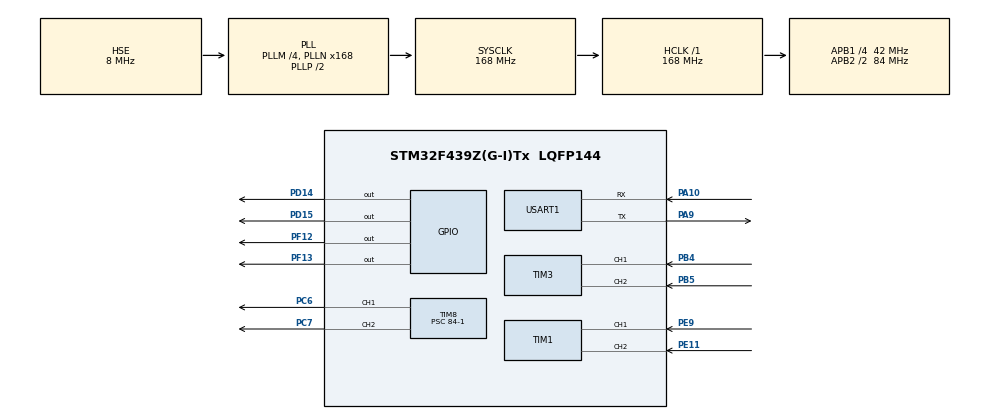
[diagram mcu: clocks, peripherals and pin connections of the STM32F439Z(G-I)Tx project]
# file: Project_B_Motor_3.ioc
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Mcu.Family=STM32F4
Mcu.Name=STM32F439Z(G-I)Tx
Mcu.Package=LQFP144
NVIC.PriorityGroup=NVIC_PRIORITYGROUP_4
NVIC.TIM1_UP_TIM10_IRQn=true\:0\:0\:false\:false\:true\:true\:true\:true
NVIC.TIM3_IRQn=true\:0\:0\:false\:false\:true\:true\:true\:true
NVIC.TIM7_IRQn=true\:0\:0\:false\:false\:true\:true\:true\:true
NVIC.USART1_IRQn=true\:0\:0\:false\:false\:true\:true\:true\:true
PA10.GPIO_ModeDefaultPP=GPIO_MODE_AF_PP
PA10.GPIO_PuPd=GPIO_NOPULL
PA10.GPIO_Speed=GPIO_SPEED_FREQ_VERY_HIGH
PA10.Mode=Asynchronous
PA10.Signal=USART1_RX
PA13.Mode=Serial_Wire
PA13.Signal=SYS_JTMS-SWDIO
PA14.Mode=Serial_Wire
PA14.Signal=SYS_JTCK-SWCLK
PA9.GPIO_ModeDefaultPP=GPIO_MODE_AF_PP
PA9.GPIO_PuPd=GPIO_NOPULL
PA9.GPIO_Speed=GPIO_SPEED_FREQ_VERY_HIGH
PA9.Mode=Asynchronous
PA9.Signal=USART1_TX
PB4.GPIO_ModeDefaultPP=GPIO_MODE_AF_PP
PB4.GPIO_PuPd=GPIO_NOPULL
PB4.GPIO_Speed=GPIO_SPEED_FREQ_VERY_HIGH
PB4.Signal=S_TIM3_CH1
PB5.GPIO_ModeDefaultPP=GPIO_MODE_AF_PP
PB5.GPIO_PuPd=GPIO_NOPULL
PB5.GPIO_Speed=GPIO_SPEED_FREQ_VERY_HIGH
PB5.Signal=S_TIM3_CH2
PC6.GPIO_ModeDefaultPP=GPIO_MODE_AF_PP
PC6.GPIO_PuPd=GPIO_NOPULL
PC6.GPIO_Speed=GPIO_SPEED_FREQ_VERY_HIGH
PC6.Signal=S_TIM8_CH1
PC7.GPIO_ModeDefaultPP=GPIO_MODE_AF_PP
PC7.GPIO_PuPd=GPIO_NOPULL
PC7.GPIO_Speed=GPIO_SPEED_FREQ_VERY_HIGH
PC7.Signal=S_TIM8_CH2
PD14.GPIO_ModeDefaultOutputPP=GPIO_MODE_OUTPUT_PP
PD14.GPIO_PuPd=GPIO_NOPULL
PD14.GPIO_Speed=GPIO_SPEED_FREQ_VERY_HIGH
PD14.PinState=GPIO_PIN_RESET
PD14.Signal=GPIO_Output
PD15.GPIO_ModeDefaultOutputPP=GPIO_MODE_OUTPUT_PP
PD15.GPIO_PuPd=GPIO_NOPULL
PD15.GPIO_Speed=GPIO_SPEED_FREQ_VERY_HIGH
PD15.PinState=GPIO_PIN_RESET
PD15.Signal=GPIO_Output
PE11.GPIO_ModeDefaultPP=GPIO_MODE_AF_PP
PE11.GPIO_PuPd=GPIO_NOPULL
PE11.GPIO_Speed=GPIO_SPEED_FREQ_VERY_HIGH
PE11.Signal=S_TIM1_CH2
PE9.GPIO_ModeDefaultPP=GPIO_MODE_AF_PP
PE9.GPIO_PuPd=GPIO_NOPULL
PE9.GPIO_Speed=GPIO_SPEED_FREQ_VERY_HIGH
PE9.Signal=S_TIM1_CH1
PF12.GPIO_Speed=GPIO_SPEED_FREQ_VERY_HIGH
PF12.PinState=GPIO_PIN_RESET
PF12.Signal=GPIO_Output
PF13.GPIO_ModeDefaultOutputPP=GPIO_MODE_OUTPUT_PP
PF13.GPIO_PuPd=GPIO_NOPULL
PF13.GPIO_Speed=GPIO_SPEED_FREQ_VERY_HIGH
PF13.PinState=GPIO_PIN_RESET
PF13.Signal=GPIO_Output
PH0/OSC_IN.Mode=HSE-External-Oscillator
PH0/OSC_IN.Signal=RCC_OSC_IN
PH1/OSC_OUT.Mode=HSE-External-Oscillator
PH1/OSC_OUT.Signal=RCC_OSC_OUT
ProjectManager.HeapSize=0x200
ProjectManager.StackSize=0x400
ProjectManager.TargetToolchain=STM32CubeIDE
RCC.48MHZClocksFreq_Value=48000000
RCC.AHBFreq_Value=168000000
RCC.APB1CLKDivider=RCC_HCLK_DIV4
RCC.APB1Freq_Value=42000000
RCC.APB1TimFreq_Value=84000000
RCC.APB2CLKDivider=RCC_HCLK_DIV2
RCC.APB2Freq_Value=84000000
RCC.APB2TimCLKDivider=2
RCC.APB2TimFreq_Value=168000000
RCC.CortexFreq_Value=168000000
RCC.HCLKFreq_Value=168000000
RCC.HSE_VALUE=8000000
RCC.HSI_VALUE=16000000
RCC.LSE_VALUE=32768
RCC.PLLM=4
RCC.PLLMUL=RCC_PLL_MUL9
RCC.PLLN=168
RCC.PLLQ=7
RCC.PLLSourceVirtual=RCC_PLLSOURCE_HSE
RCC.PRESCALERUSB=RCC_USBCLKSOURCE_PLL_DIV1_5
RCC.SYSCLKFreq_VALUE=168000000
RCC.SYSCLKSource=RCC_SYSCLKSOURCE_PLLCLK
RCC.SYSCLKSourceVirtual=RCC_SYSCLKSOURCE_PLLCLK
RCC.USBFreq_Value=48000000
RCC.VCOOutputFreq_Value=336000000
SH.S_TIM1_CH1.0=TIM1_CH1,Encoder_Interface
SH.S_TIM1_CH2.0=TIM1_CH2,Encoder_Interface
SH.S_TIM3_CH1.0=TIM3_CH1,Encoder_Interface
SH.S_TIM3_CH2.0=TIM3_CH2,Encoder_Interface
SH.S_TIM8_CH1.0=TIM8_CH1,PWM Generation1 CH1
SH.S_TIM8_CH2.0=TIM8_CH2,PWM Generation2 CH2
TIM1.EncoderMode=TIM_ENCODERMODE_TI12
TIM3.EncoderMode=TIM_ENCODERMODE_TI12
TIM7.Period=50-1
TIM7.Prescaler=8400-1
TIM8.Channel-PWM\ Generation1\ CH1=TIM_CHANNEL_1
TIM8.Channel-PWM\ Generation2\ CH2=TIM_CHANNEL_2
TIM8.Period=100-1
TIM8.Prescaler=84-1
USART1.VirtualMode=VM_ASYNC
VP_TIM7_VS_ClockSourceINT.Mode=Enable_Timer
board=NUCLEO-F439ZI

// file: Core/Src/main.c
/* USER CODE BEGIN Header */
/**
  ******************************************************************************
  * @file           : main.c
  * @brief          : Main program body
  ******************************************************************************
  * @attention
  *
  * Copyright (c) 2025 STMicroelectronics.
  * All rights reserved.
  *
  * This software is licensed under terms that can be found in the LICENSE file
  * in the root directory of this software component.
  * If no LICENSE file comes with this software, it is provided AS-IS.
  *
  ******************************************************************************
  */
/* USER CODE END Header */
#include "main.h"

/* USER CODE BEGIN Includes */
#include "B_Encoder.h"
/* USER CODE END Includes */

// 수정 확인이요

TIM_HandleTypeDef htim1;
TIM_HandleTypeDef htim3;
TIM_HandleTypeDef htim7;
TIM_HandleTypeDef htim8;

UART_HandleTypeDef huart1;

/* USER CODE BEGIN PV */
B_MOTOR_t move_instance = {
    .pid_R.Kp = 0.001f,
    .pid_R.Ki = 0.000001f,
    .pid_R.Kd = 0.001f,

    .pid_L.Kp = 0.001f,
    .pid_L.Ki = 0.000001f,
    .pid_L.Kd = 0.001f,
};
B_MOTOR_t *move = &move_instance;

uint8_t state = 0;
uint8_t cell = 0;
/* USER CODE END PV */

void SystemClock_Config(void);
static void MX_GPIO_Init(void);
static void MX_TIM8_Init(void);
static void MX_TIM1_Init(void);
static void MX_TIM3_Init(void);
static void MX_TIM7_Init(void);
static void MX_USART1_UART_Init(void);
/* USER CODE BEGIN PFP */
void HAL_TIM_IC_CaptureCallback(TIM_HandleTypeDef *htim)
{
    if (htim->Instance == TIM1) {
    	B_MOTOR_EncoderOver(move);
    }
    if (htim->Instance == TIM3) {
    	B_MOTOR_EncoderOver(move);
    }
}

void HAL_TIM_PeriodElapsedCallback(TIM_HandleTypeDef *htim)
{
  if (htim->Instance == TIM7)
  {
    B_MOTOR_UpdateEncoder(move);

    switch (move->move_state)
    {
      case MOTOR_MOVE_IDLE:
    	  break;

      case MOTOR_MOVE_DIR:
      {
  		int32_t error = move->target_count - move->R.total_count;
  		move->dir_state = (error < 0) ? MOTOR_DIR_CCW : MOTOR_DIR_CW;
  		B_MOTOR_SET_DIR(move, move->dir_state);
  		move->move_state = MOTOR_MOVE_ACCEL;
  		break;
      }

      case MOTOR_MOVE_ACCEL:
      {
        B_MOTOR_ACCEL(move);
        break;
      }

      case MOTOR_MOVE_PID:
        B_MOTOR_PID_CONTROLLER(move);
        break;

      case MOTOR_MOVE_DONE:
        move->move_state = MOTOR_MOVE_IDLE;
        break;

      default:
        break;
    }
  }
}

/* USER CODE END PFP */

int main(void)
{

  /* MCU Configuration--------------------------------------------------------*/

  /* Reset of all peripherals, Initializes the Flash interface and the Systick. */
  HAL_Init();

  /* Configure the system clock */
  SystemClock_Config();

  /* Initialize all configured peripherals */
  MX_GPIO_Init();
  MX_TIM8_Init();
  MX_TIM1_Init();
  MX_TIM3_Init();
  MX_TIM7_Init();
  MX_USART1_UART_Init();
  /* USER CODE BEGIN 2 */
  B_MOTOR_INIT(move);
  HAL_TIM_Base_Start_IT(&htim7);
  /* USER CODE END 2 */

  /* Infinite loop */
  /* USER CODE BEGIN WHILE */
  while (1)
  {
	  // 1. 목표 거리 설정 (셀 번호 → 거리 → 인코더 카운트)
	  move->target_count = B_MOTOR_cell_to_cm(cell) * COUNTS_PER_CM;

	  // 2. 외부로부터 동작 시작 트리거 (1회성, 직접 설정)
	  if (state == 1) {
	      state = 0;
	      B_MOTOR_RESET_PID(move);
	      B_MOTOR_SET_STATE(move, MOTOR_STATE_START);
	      move->move_state = MOTOR_MOVE_DIR;
	  }
    /* USER CODE END WHILE */

  }
}

void SystemClock_Config(void)
{
  RCC_OscInitTypeDef RCC_OscInitStruct = {0};
  RCC_ClkInitTypeDef RCC_ClkInitStruct = {0};

  /** Configure the main internal regulator output voltage
  */
  __HAL_RCC_PWR_CLK_ENABLE();
  __HAL_PWR_VOLTAGESCALING_CONFIG(PWR_REGULATOR_VOLTAGE_SCALE1);

  /** Initializes the RCC Oscillators according to the specified parameters
  * in the RCC_OscInitTypeDef structure.
  */
  RCC_OscInitStruct.OscillatorType = RCC_OSCILLATORTYPE_HSE;
  RCC_OscInitStruct.HSEState = RCC_HSE_ON;
  RCC_OscInitStruct.PLL.PLLState = RCC_PLL_ON;
  RCC_OscInitStruct.PLL.PLLSource = RCC_PLLSOURCE_HSE;
  RCC_OscInitStruct.PLL.PLLM = 4;
  RCC_OscInitStruct.PLL.PLLN = 168;
  RCC_OscInitStruct.PLL.PLLP = RCC_PLLP_DIV2;
  RCC_OscInitStruct.PLL.PLLQ = 7;
  if (HAL_RCC_OscConfig(&RCC_OscInitStruct) != HAL_OK)
  {
    Error_Handler();
  }

  /** Initializes the CPU, AHB and APB buses clocks
  */
  RCC_ClkInitStruct.ClockType = RCC_CLOCKTYPE_HCLK|RCC_CLOCKTYPE_SYSCLK
                              |RCC_CLOCKTYPE_PCLK1|RCC_CLOCKTYPE_PCLK2;
  RCC_ClkInitStruct.SYSCLKSource = RCC_SYSCLKSOURCE_PLLCLK;
  RCC_ClkInitStruct.AHBCLKDivider = RCC_SYSCLK_DIV1;
  RCC_ClkInitStruct.APB1CLKDivider = RCC_HCLK_DIV4;
  RCC_ClkInitStruct.APB2CLKDivider = RCC_HCLK_DIV2;

  if (HAL_RCC_ClockConfig(&RCC_ClkInitStruct, FLASH_LATENCY_5) != HAL_OK)
  {
    Error_Handler();
  }
}

static void MX_TIM1_Init(void)
{

  TIM_Encoder_InitTypeDef sConfig = {0};
  TIM_MasterConfigTypeDef sMasterConfig = {0};

  htim1.Instance = TIM1;
  htim1.Init.Prescaler = 0;
  htim1.Init.CounterMode = TIM_COUNTERMODE_UP;
  htim1.Init.Period = 65535;
  htim1.Init.ClockDivision = TIM_CLOCKDIVISION_DIV1;
  htim1.Init.RepetitionCounter = 0;
  htim1.Init.AutoReloadPreload = TIM_AUTORELOAD_PRELOAD_DISABLE;
  sConfig.EncoderMode = TIM_ENCODERMODE_TI12;
  sConfig.IC1Polarity = TIM_ICPOLARITY_RISING;
  sConfig.IC1Selection = TIM_ICSELECTION_DIRECTTI;
  sConfig.IC1Prescaler = TIM_ICPSC_DIV1;
  sConfig.IC1Filter = 0;
  sConfig.IC2Polarity = TIM_ICPOLARITY_RISING;
  sConfig.IC2Selection = TIM_ICSELECTION_DIRECTTI;
  sConfig.IC2Prescaler = TIM_ICPSC_DIV1;
  sConfig.IC2Filter = 0;
  if (HAL_TIM_Encoder_Init(&htim1, &sConfig) != HAL_OK)
  {
    Error_Handler();
  }
  sMasterConfig.MasterOutputTrigger = TIM_TRGO_RESET;
  sMasterConfig.MasterSlaveMode = TIM_MASTERSLAVEMODE_DISABLE;
  if (HAL_TIMEx_MasterConfigSynchronization(&htim1, &sMasterConfig) != HAL_OK)
  {
    Error_Handler();
  }

}

static void MX_TIM3_Init(void)
{

  TIM_Encoder_InitTypeDef sConfig = {0};
  TIM_MasterConfigTypeDef sMasterConfig = {0};

  htim3.Instance = TIM3;
  htim3.Init.Prescaler = 0;
  htim3.Init.CounterMode = TIM_COUNTERMODE_UP;
  htim3.Init.Period = 65535;
  htim3.Init.ClockDivision = TIM_CLOCKDIVISION_DIV1;
  htim3.Init.AutoReloadPreload = TIM_AUTORELOAD_PRELOAD_DISABLE;
  sConfig.EncoderMode = TIM_ENCODERMODE_TI12;
  sConfig.IC1Polarity = TIM_ICPOLARITY_RISING;
  sConfig.IC1Selection = TIM_ICSELECTION_DIRECTTI;
  sConfig.IC1Prescaler = TIM_ICPSC_DIV1;
  sConfig.IC1Filter = 0;
  sConfig.IC2Polarity = TIM_ICPOLARITY_RISING;
  sConfig.IC2Selection = TIM_ICSELECTION_DIRECTTI;
  sConfig.IC2Prescaler = TIM_ICPSC_DIV1;
  sConfig.IC2Filter = 0;
  if (HAL_TIM_Encoder_Init(&htim3, &sConfig) != HAL_OK)
  {
    Error_Handler();
  }
  sMasterConfig.MasterOutputTrigger = TIM_TRGO_RESET;
  sMasterConfig.MasterSlaveMode = TIM_MASTERSLAVEMODE_DISABLE;
  if (HAL_TIMEx_MasterConfigSynchronization(&htim3, &sMasterConfig) != HAL_OK)
  {
    Error_Handler();
  }

}

static void MX_TIM7_Init(void)
{

  TIM_MasterConfigTypeDef sMasterConfig = {0};

  htim7.Instance = TIM7;
  htim7.Init.Prescaler = 8400-1;
  htim7.Init.CounterMode = TIM_COUNTERMODE_UP;
  htim7.Init.Period = 50-1;
  htim7.Init.AutoReloadPreload = TIM_AUTORELOAD_PRELOAD_DISABLE;
  if (HAL_TIM_Base_Init(&htim7) != HAL_OK)
  {
    Error_Handler();
  }
  sMasterConfig.MasterOutputTrigger = TIM_TRGO_RESET;
  sMasterConfig.MasterSlaveMode = TIM_MASTERSLAVEMODE_DISABLE;
  if (HAL_TIMEx_MasterConfigSynchronization(&htim7, &sMasterConfig) != HAL_OK)
  {
    Error_Handler();
  }

}

static void MX_TIM8_Init(void)
{

  TIM_MasterConfigTypeDef sMasterConfig = {0};
  TIM_OC_InitTypeDef sConfigOC = {0};
  TIM_BreakDeadTimeConfigTypeDef sBreakDeadTimeConfig = {0};

  htim8.Instance = TIM8;
  htim8.Init.Prescaler = 84-1;
  htim8.Init.CounterMode = TIM_COUNTERMODE_UP;
  htim8.Init.Period = 100-1;
  htim8.Init.ClockDivision = TIM_CLOCKDIVISION_DIV1;
  htim8.Init.RepetitionCounter = 0;
  htim8.Init.AutoReloadPreload = TIM_AUTORELOAD_PRELOAD_DISABLE;
  if (HAL_TIM_PWM_Init(&htim8) != HAL_OK)
  {
    Error_Handler();
  }
  sMasterConfig.MasterOutputTrigger = TIM_TRGO_RESET;
  sMasterConfig.MasterSlaveMode = TIM_MASTERSLAVEMODE_DISABLE;
  if (HAL_TIMEx_MasterConfigSynchronization(&htim8, &sMasterConfig) != HAL_OK)
  {
    Error_Handler();
  }
  sConfigOC.OCMode = TIM_OCMODE_PWM1;
  sConfigOC.Pulse = 0;
  sConfigOC.OCPolarity = TIM_OCPOLARITY_HIGH;
  sConfigOC.OCNPolarity = TIM_OCNPOLARITY_HIGH;
  sConfigOC.OCFastMode = TIM_OCFAST_DISABLE;
  sConfigOC.OCIdleState = TIM_OCIDLESTATE_RESET;
  sConfigOC.OCNIdleState = TIM_OCNIDLESTATE_RESET;
  if (HAL_TIM_PWM_ConfigChannel(&htim8, &sConfigOC, TIM_CHANNEL_1) != HAL_OK)
  {
    Error_Handler();
  }
  if (HAL_TIM_PWM_ConfigChannel(&htim8, &sConfigOC, TIM_CHANNEL_2) != HAL_OK)
  {
    Error_Handler();
  }
  sBreakDeadTimeConfig.OffStateRunMode = TIM_OSSR_DISABLE;
  sBreakDeadTimeConfig.OffStateIDLEMode = TIM_OSSI_DISABLE;
  sBreakDeadTimeConfig.LockLevel = TIM_LOCKLEVEL_OFF;
  sBreakDeadTimeConfig.DeadTime = 0;
  sBreakDeadTimeConfig.BreakState = TIM_BREAK_DISABLE;
  sBreakDeadTimeConfig.BreakPolarity = TIM_BREAKPOLARITY_HIGH;
  sBreakDeadTimeConfig.AutomaticOutput = TIM_AUTOMATICOUTPUT_DISABLE;
  if (HAL_TIMEx_ConfigBreakDeadTime(&htim8, &sBreakDeadTimeConfig) != HAL_OK)
  {
    Error_Handler();
  }
  HAL_TIM_MspPostInit(&htim8);

}

static void MX_USART1_UART_Init(void)
{

  huart1.Instance = USART1;
  huart1.Init.BaudRate = 115200;
  huart1.Init.WordLength = UART_WORDLENGTH_8B;
  huart1.Init.StopBits = UART_STOPBITS_1;
  huart1.Init.Parity = UART_PARITY_NONE;
  huart1.Init.Mode = UART_MODE_TX_RX;
  huart1.Init.HwFlowCtl = UART_HWCONTROL_NONE;
  huart1.Init.OverSampling = UART_OVERSAMPLING_16;
  if (HAL_UART_Init(&huart1) != HAL_OK)
  {
    Error_Handler();
  }

}

static void MX_GPIO_Init(void)
{
  GPIO_InitTypeDef GPIO_InitStruct = {0};

  /* GPIO Ports Clock Enable */
  __HAL_RCC_GPIOH_CLK_ENABLE();
  __HAL_RCC_GPIOF_CLK_ENABLE();
  __HAL_RCC_GPIOE_CLK_ENABLE();
  __HAL_RCC_GPIOD_CLK_ENABLE();
  __HAL_RCC_GPIOC_CLK_ENABLE();
  __HAL_RCC_GPIOA_CLK_ENABLE();
  __HAL_RCC_GPIOB_CLK_ENABLE();

  /*Configure GPIO pin Output Level */
  HAL_GPIO_WritePin(GPIOF, GPIO_PIN_12|GPIO_PIN_13, GPIO_PIN_RESET);

  /*Configure GPIO pin Output Level */
  HAL_GPIO_WritePin(GPIOD, GPIO_PIN_14|GPIO_PIN_15, GPIO_PIN_RESET);

  /*Configure GPIO pins : PF12 PF13 */
  GPIO_InitStruct.Pin = GPIO_PIN_12|GPIO_PIN_13;
  GPIO_InitStruct.Mode = GPIO_MODE_OUTPUT_PP;
  GPIO_InitStruct.Pull = GPIO_NOPULL;
  GPIO_InitStruct.Speed = GPIO_SPEED_FREQ_VERY_HIGH;
  HAL_GPIO_Init(GPIOF, &GPIO_InitStruct);

  /*Configure GPIO pins : PD14 PD15 */
  GPIO_InitStruct.Pin = GPIO_PIN_14|GPIO_PIN_15;
  GPIO_InitStruct.Mode = GPIO_MODE_OUTPUT_PP;
  GPIO_InitStruct.Pull = GPIO_NOPULL;
  GPIO_InitStruct.Speed = GPIO_SPEED_FREQ_VERY_HIGH;
  HAL_GPIO_Init(GPIOD, &GPIO_InitStruct);

}

void Error_Handler(void)
{
  __disable_irq();
  while (1)
  {
  }
}
